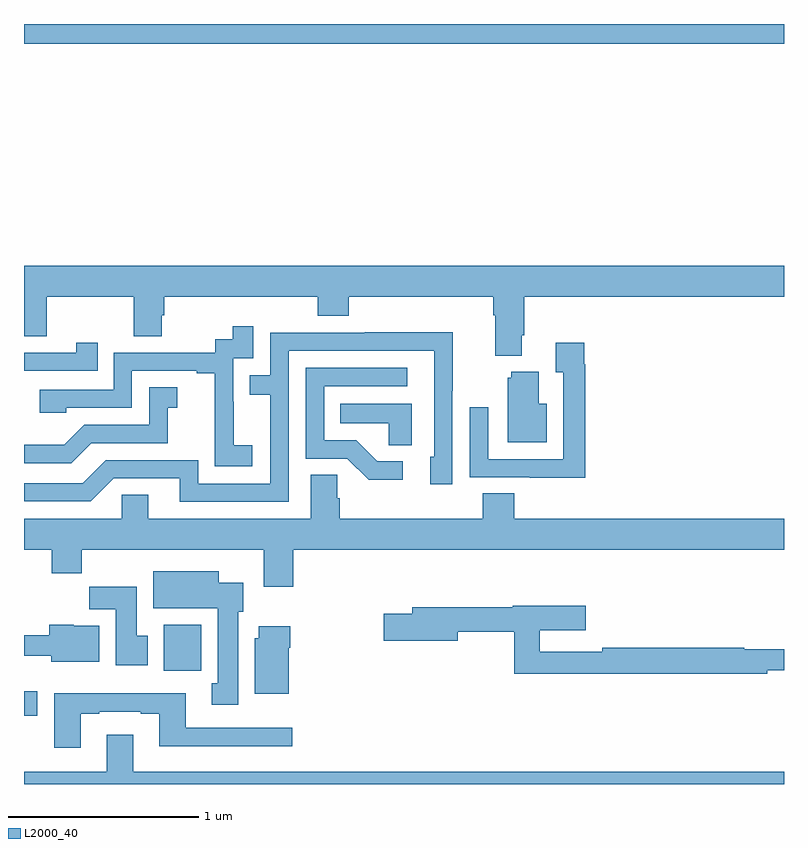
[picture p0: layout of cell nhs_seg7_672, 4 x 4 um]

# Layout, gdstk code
import gdstk
lib = gdstk.Library(unit=1e-6, precision=1e-09)
def R(c, l, rs):  # rectangles x0, y0, x1, y1
    for r in rs: c.add(gdstk.rectangle(r[:2], r[2:], *l))
def P(c, l, *ps):  # polygons
    for p in ps: c.add(gdstk.Polygon(p, *l))
L2000_40 = (2000, 40)

nhs_seg7_672 = lib.new_cell('nhs_seg7_672')
R(nhs_seg7_672, L2000_40, [(161,1050.358,161.071,1050.487), (161.735,1050.596,161.932,1050.838), (161,1053.896,165,1054)])
P(nhs_seg7_672, L2000_40, [(163.621,1052.362),(163.634,1052.362),(163.634,1052.564),(165,1052.564),(165,1052.728),(161,1052.728),(161,1052.356),(161.121,1052.356),(161.121,1052.564),(161.578,1052.564),(161.578,1052.356),(161.725,1052.356),(161.725,1052.466),(161.738,1052.466),(161.738,1052.564),(162.545,1052.564),(162.545,1052.465),(162.71,1052.465),(162.71,1052.564),(163.469,1052.564),(163.469,1052.468),(163.481,1052.468),(163.481,1052.255),(163.621,1052.255)],
  [(162.202,1051.783),(162.104,1051.783),(162.104,1052.012),(162.102,1052.012),(162.102,1052.241),(162.207,1052.241),(162.207,1052.41),(162.099,1052.41),(162.099,1052.34),(162.006,1052.34),(162.006,1052.271),(161.472,1052.271),(161.472,1052.076),(161.083,1052.076),(161.083,1051.953),(161.223,1051.953),(161.223,1051.98),(161.568,1051.98),(161.568,1052.175),(161.909,1052.175),(161.909,1052.163),(162.005,1052.163),(162.005,1051.879),(162.004,1051.879),(162.004,1051.673),(162.202,1051.673)],
  [(162.393,1052.28),(163.158,1052.28),(163.158,1051.722),(163.139,1051.722),(163.139,1051.578),(163.254,1051.578),(163.254,1052.071),(163.257,1052.071),(163.257,1052.378),(162.793,1052.378),(162.793,1052.376),(162.297,1052.376),(162.297,1052.151),(162.187,1052.151),(162.187,1052.05),(162.297,1052.05),(162.297,1051.581),(161.916,1051.581),(161.916,1051.704),(161.43,1051.704),(161.31,1051.584),(161,1051.584),(161,1051.488),(161.352,1051.488),(161.472,1051.608),(161.819,1051.608),(161.819,1051.485),(162.393,1051.485)],
  [(161.387,1052.323),(161.276,1052.323),(161.276,1052.271),(161,1052.271),(161,1052.175),(161.387,1052.175)],
  [(163.955,1052.21),(163.948,1052.21),(163.948,1052.323),(163.799,1052.323),(163.799,1052.167),(163.839,1052.167),(163.839,1051.71),(163.443,1051.71),(163.443,1051.984),(163.347,1051.984),(163.347,1051.614),(163.663,1051.614),(163.663,1051.613),(163.955,1051.613)],
  [(162.994,1051.698),(162.859,1051.698),(162.748,1051.809),(162.579,1051.809),(162.579,1052.094),(163.018,1052.094),(163.018,1052.19),(162.483,1052.19),(162.483,1051.713),(162.702,1051.713),(162.815,1051.601),(162.994,1051.601)],
  [(163.75,1052.002),(163.708,1052.002),(163.708,1052.17),(163.565,1052.17),(163.565,1052.139),(163.547,1052.139),(163.547,1051.799),(163.75,1051.799)],
  [(161.353,1051.794),(161.757,1051.794),(161.757,1051.979),(161.806,1051.979),(161.806,1052.089),(161.658,1052.089),(161.658,1051.89),(161.316,1051.89),(161.212,1051.786),(161,1051.786),(161,1051.689),(161.248,1051.689)],
  [(163.042,1052.002),(162.664,1052.002),(162.664,1051.898),(162.921,1051.898),(162.921,1051.783),(163.042,1051.783)],
  [(162.416,1051.232),(165,1051.232),(165,1051.396),(163.58,1051.396),(163.58,1051.529),(163.415,1051.529),(163.415,1051.396),(162.662,1051.396),(162.662,1051.505),(162.648,1051.505),(162.648,1051.628),(162.509,1051.628),(162.509,1051.396),(161.653,1051.396),(161.653,1051.523),(161.514,1051.523),(161.514,1051.396),(161,1051.396),(161,1051.232),(161.147,1051.232),(161.147,1051.108),(161.303,1051.108),(161.303,1051.232),(162.263,1051.232),(162.263,1051.038),(162.416,1051.038)],
  [(162.127,1050.906),(162.154,1050.906),(162.154,1051.06),(162.025,1051.06),(162.025,1051.12),(161.681,1051.12),(161.681,1050.926),(162.02,1050.926),(162.02,1050.53),(161.987,1050.53),(161.987,1050.417),(162.127,1050.417)],
  [(161.65,1050.78),(161.593,1050.78),(161.593,1051.038),(161.344,1051.038),(161.344,1050.92),(161.483,1050.92),(161.483,1050.624),(161.65,1050.624)],
  [(164.912,1050.599),(165,1050.599),(165,1050.709),(164.792,1050.709),(164.792,1050.716),(164.044,1050.716),(164.044,1050.696),(163.715,1050.696),(163.715,1050.809),(163.957,1050.809),(163.957,1050.939),(163.572,1050.939),(163.572,1050.931),(163.043,1050.931),(163.043,1050.897),(162.894,1050.897),(162.894,1050.755),(163.282,1050.755),(163.282,1050.802),(163.579,1050.802),(163.579,1050.58),(164.912,1050.58)],
  [(161.395,1050.832),(161.262,1050.832),(161.262,1050.838),(161.132,1050.838),(161.132,1050.784),(161,1050.784),(161,1050.674),(161.144,1050.674),(161.144,1050.644),(161.395,1050.644)],
  [(162.394,1050.716),(162.402,1050.716),(162.402,1050.829),(162.236,1050.829),(162.236,1050.768),(162.215,1050.768),(162.215,1050.476),(162.394,1050.476)],
  [(161.299,1050.369),(161.395,1050.369),(161.395,1050.381),(161.615,1050.381),(161.615,1050.369),(161.711,1050.369),(161.711,1050.2),(162.412,1050.2),(162.412,1050.297),(161.851,1050.297),(161.851,1050.478),(161.159,1050.478),(161.159,1050.192),(161.299,1050.192)],
  [(165,1050.064),(161.575,1050.064),(161.575,1050.259),(161.435,1050.259),(161.435,1050.064),(161,1050.064),(161,1050),(165,1050)])

lib.write_gds('nhs_seg7_672.gds')
